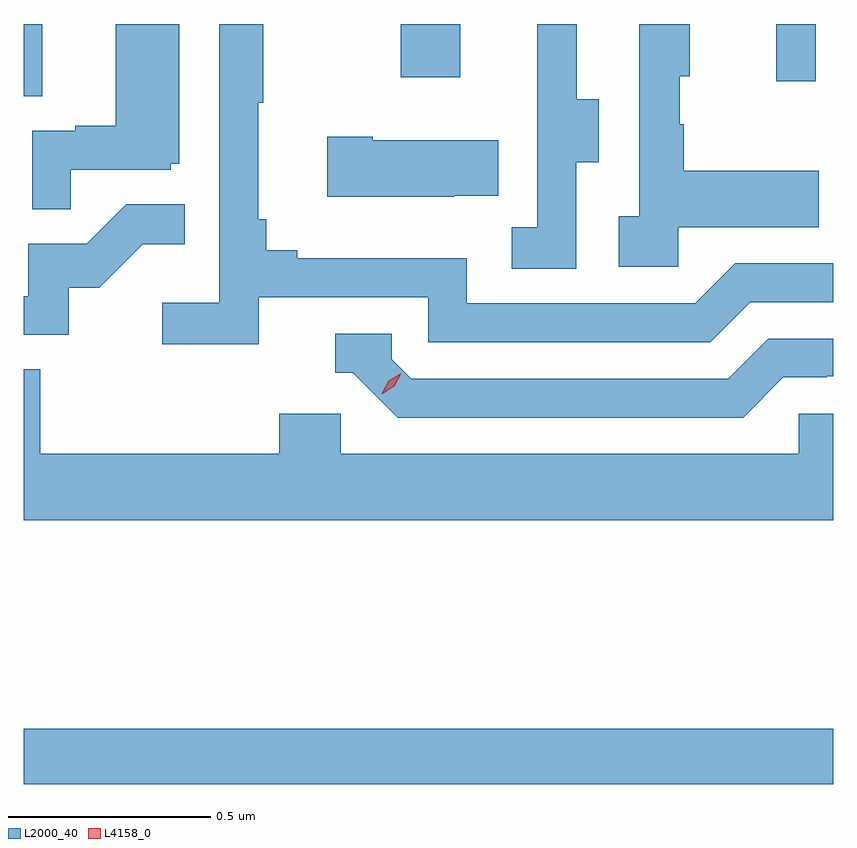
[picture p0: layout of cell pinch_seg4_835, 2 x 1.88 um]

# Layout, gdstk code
import gdstk
lib = gdstk.Library(unit=1e-6, precision=1e-09)
def R(c, l, rs):  # rectangles x0, y0, x1, y1
    for r in rs: c.add(gdstk.rectangle(r[:2], r[2:], *l))
def P(c, l, *ps):  # polygons
    for p in ps: c.add(gdstk.Polygon(p, *l))
L2000_40 = (2000, 40)
L4158_0 = (4158, 0)

pinch_seg4_835 = lib.new_cell('pinch_seg4_835')
R(pinch_seg4_835, L2000_40, [(804.477,796.168,806.477,796.304), (804.477,797.866,804.523,798.045), (806.336,797.904,806.433,798.045), (805.408,797.913,805.555,798.045)])
P(pinch_seg4_835, L2000_40, [(806.094,797.543),(806.441,797.543),(806.441,797.683),(806.107,797.683),(806.107,797.798),(806.097,797.798),(806.097,797.916),(806.122,797.916),(806.122,798.045),(805.998,798.045),(805.998,797.57),(805.947,797.57),(805.947,797.445),(806.094,797.445)],
  [(805.842,797.704),(805.897,797.704),(805.897,797.859),(805.843,797.859),(805.843,798.045),(805.745,798.045),(805.745,797.847),(805.746,797.847),(805.746,797.543),(805.683,797.543),(805.683,797.44),(805.842,797.44)],
  [(804.593,797.685),(804.84,797.685),(804.84,797.7),(804.862,797.7),(804.862,798.045),(804.704,798.045),(804.704,797.794),(804.605,797.794),(804.605,797.781),(804.498,797.781),(804.498,797.587),(804.593,797.587)],
  [(805.058,797.37),(805.476,797.37),(805.476,797.259),(806.173,797.259),(806.272,797.358),(806.477,797.358),(806.477,797.454),(806.235,797.454),(806.136,797.355),(805.572,797.355),(805.572,797.467),(805.153,797.467),(805.153,797.486),(805.076,797.486),(805.076,797.563),(805.057,797.563),(805.057,797.851),(805.069,797.851),(805.069,798.045),(804.96,798.045),(804.96,797.356),(804.819,797.356),(804.819,797.254),(805.058,797.254)],
  [(805.541,797.621),(805.649,797.621),(805.649,797.758),(805.339,797.758),(805.339,797.766),(805.227,797.766),(805.227,797.618),(805.541,797.618)],
  [(804.588,797.394),(804.664,797.394),(804.771,797.501),(804.875,797.501),(804.875,797.6),(804.731,797.6),(804.633,797.502),(804.489,797.502),(804.489,797.373),(804.477,797.373),(804.477,797.277),(804.588,797.277)],
  [(806.353,797.172),(806.46,797.172),(806.46,797.175),(806.477,797.175),(806.477,797.268),(806.316,797.268),(806.217,797.169),(805.434,797.169),(805.386,797.217),(805.386,797.28),(805.247,797.28),(805.247,797.184),(805.29,797.184),(805.401,797.073),(806.254,797.073)],
  [(806.477,797.082),(806.391,797.082),(806.391,796.984),(805.26,796.984),(805.26,797.082),(805.109,797.082),(805.109,796.984),(804.518,796.984),(804.518,797.192),(804.477,797.192),(804.477,796.82),(806.477,796.82)])
P(pinch_seg4_835, L4158_0, [(805.362,797.131),(805.362,797.132),(805.379,797.164),(805.41,797.183),(805.41,797.183),(805.41,797.183),(805.393,797.15),(805.362,797.131)])

lib.write_gds('pinch_seg4_835.gds')
